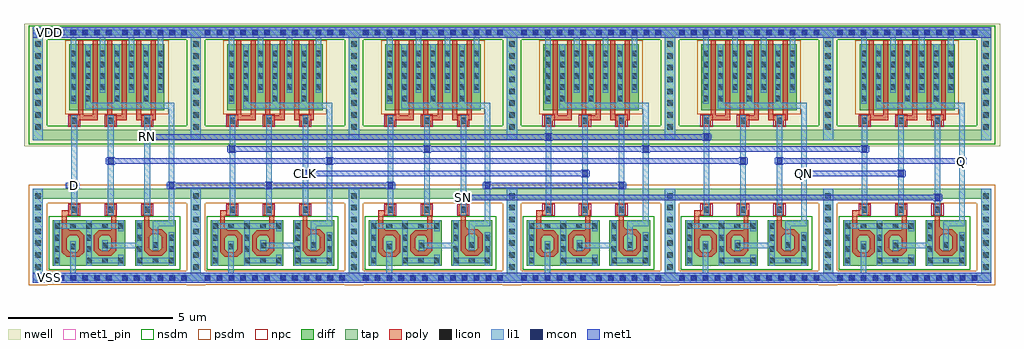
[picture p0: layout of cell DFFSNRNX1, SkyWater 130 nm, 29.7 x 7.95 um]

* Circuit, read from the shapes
.subckt DFFSNRNX1 CLK D Q QN RN SN VDD VSS
XM1 n1 D VSS VSS sky130_fd_pr__nfet_01v8 w=2.6 l=0.1457
XM2 n1 n2 n3 VSS sky130_fd_pr__nfet_01v8 w=2.52 l=0.1448
XM3 n3 RN n4 VSS sky130_fd_pr__nfet_01v8 w=2.56 l=0.1469
XM4 n5 n6 VSS VSS sky130_fd_pr__nfet_01v8 w=2.6 l=0.1461
XM5 n5 n4 n7 VSS sky130_fd_pr__nfet_01v8 w=2.52 l=0.1448
XM6 n7 CLK n2 VSS sky130_fd_pr__nfet_01v8 w=2.56 l=0.1469
XM7 n8 n4 VSS VSS sky130_fd_pr__nfet_01v8 w=2.6 l=0.1461
XM8 n8 n6 n9 VSS sky130_fd_pr__nfet_01v8 w=2.52 l=0.1448
XM9 n9 SN n10 VSS sky130_fd_pr__nfet_01v8 w=2.56 l=0.1469
XM10 n11 RN VSS VSS sky130_fd_pr__nfet_01v8 w=2.6 l=0.1461
XM11 n11 CLK n12 VSS sky130_fd_pr__nfet_01v8 w=2.52 l=0.1446
XM12 n12 n10 n6 VSS sky130_fd_pr__nfet_01v8 w=2.56 l=0.1469
XM13 n13 RN VSS VSS sky130_fd_pr__nfet_01v8 w=2.6 l=0.1461
XM14 n13 n2 n14 VSS sky130_fd_pr__nfet_01v8 w=2.52 l=0.1446
XM15 n14 Q QN VSS sky130_fd_pr__nfet_01v8 w=2.56 l=0.1469
XM16 n15 n6 VSS VSS sky130_fd_pr__nfet_01v8 w=2.6 l=0.1461
XM17 n15 QN n16 VSS sky130_fd_pr__nfet_01v8 w=2.52 l=0.1446
XM18 n16 SN Q VSS sky130_fd_pr__nfet_01v8 w=2.56 l=0.1469
XM19 n4 D VDD VDD sky130_fd_pr__pfet_01v8 w=2 l=0.15 m=2
XM20 n4 n2 VDD VDD sky130_fd_pr__pfet_01v8 w=2 l=0.15 m=2
XM21 n4 RN VDD VDD sky130_fd_pr__pfet_01v8 w=2 l=0.15 m=2
XM22 n2 n6 VDD VDD sky130_fd_pr__pfet_01v8 w=2 l=0.15 m=2
XM23 n2 n4 VDD VDD sky130_fd_pr__pfet_01v8 w=2 l=0.15 m=2
XM24 n2 CLK VDD VDD sky130_fd_pr__pfet_01v8 w=2 l=0.15 m=2
XM25 n10 n4 VDD VDD sky130_fd_pr__pfet_01v8 w=2 l=0.15 m=2
XM26 n10 n6 VDD VDD sky130_fd_pr__pfet_01v8 w=2 l=0.15 m=2
XM27 n10 SN VDD VDD sky130_fd_pr__pfet_01v8 w=2 l=0.15 m=2
XM28 n6 RN VDD VDD sky130_fd_pr__pfet_01v8 w=2 l=0.15 m=2
XM29 n6 CLK VDD VDD sky130_fd_pr__pfet_01v8 w=2 l=0.15 m=2
XM30 n6 n10 VDD VDD sky130_fd_pr__pfet_01v8 w=2 l=0.15 m=2
XM31 QN RN VDD VDD sky130_fd_pr__pfet_01v8 w=2 l=0.15 m=2
XM32 QN n2 VDD VDD sky130_fd_pr__pfet_01v8 w=2 l=0.15 m=2
XM33 QN Q VDD VDD sky130_fd_pr__pfet_01v8 w=2 l=0.15 m=2
XM34 Q n6 VDD VDD sky130_fd_pr__pfet_01v8 w=2 l=0.15 m=2
XM35 Q QN VDD VDD sky130_fd_pr__pfet_01v8 w=2 l=0.15 m=2
XM36 Q SN VDD VDD sky130_fd_pr__pfet_01v8 w=2 l=0.15 m=2
.ends

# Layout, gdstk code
import gdstk
lib = gdstk.Library(unit=1e-6, precision=1e-09)
def R(c, l, rs):  # rectangles x0, y0, x1, y1
    for r in rs: c.add(gdstk.rectangle(r[:2], r[2:], *l))
def A(c, l, x, y, w, h, nx, ny, dx, dy):  # array of equal rectangles
    R(c, l, [(x+i*dx, y+j*dy, x+i*dx+w, y+j*dy+h) for i in range(nx) for j in range(ny)])
def P(c, l, *ps):  # polygons
    for p in ps: c.add(gdstk.Polygon(p, *l))
nwell = (64, 20)
diff = (65, 20)
tap = (65, 44)
poly = (66, 20)
licon = (66, 44)
li1 = (67, 20)
mcon = (67, 44)
met1_pin = (68, 16)
met1 = (68, 20)
nsdm = (93, 44)
psdm = (94, 20)
npc = (95, 20)

dffsnrnx1 = lib.new_cell('DFFSNRNX1')
R(dffsnrnx1, nwell, [(-0.42,4.16,29.28,7.875)])
A(dffsnrnx1, diff, 0.455, 0.515, 2.21, 1.38, 6, 1, 4.81, 0)
A(dffsnrnx1, diff, 2.965, 0.515, 1.24, 1.38, 6, 1, 4.81, 0)
A(dffsnrnx1, diff, 0.955, 5.25, 2.9, 2, 6, 1, 4.81, 0)
A(dffsnrnx1, tap, -0.155, 0.055, 0.31, 0.01, 7, 1, 4.81, 0)
A(dffsnrnx1, tap, -0.155, 0.235, 0.31, 2.315, 7, 1, 4.81, 0)
A(dffsnrnx1, tap, -0.155, 4.65, 0.31, 2.875, 7, 1, 4.81, 0)
R(dffsnrnx1, tap, [(-0.155,0.065,29.015,0.235), (-0.155,2.55,29.015,2.86), (-0.155,4.34,29.015,4.65), (-0.155,7.525,29.015,7.695)])
A(dffsnrnx1, poly, 5.695, 0.785, 0.38, 0.035, 5, 1, 4.81, 0)
A(dffsnrnx1, poly, 1.86, 0.82, 0.375, 0.15, 6, 1, 4.81, 0)
A(dffsnrnx1, poly, 5.66, 0.82, 0.415, 0.005, 5, 1, 4.81, 0)
A(dffsnrnx1, poly, 3.395, 0.825, 0.38, 0.15, 6, 1, 4.81, 0)
A(dffsnrnx1, poly, 5.655, 0.825, 0.42, 0.11, 5, 1, 4.81, 0)
A(dffsnrnx1, poly, 0.735, 1.44, 0.53, 0.15, 6, 1, 4.81, 0)
A(dffsnrnx1, poly, 1.86, 1.44, 0.525, 0.15, 6, 1, 4.81, 0)
A(dffsnrnx1, poly, 3.245, 1.48, 0.53, 0.15, 6, 1, 4.81, 0)
A(dffsnrnx1, poly, 3.245, 1.63, 0.15, 0.425, 6, 1, 4.81, 0)
A(dffsnrnx1, poly, 0.735, 2.055, 0.51, 0.15, 6, 1, 4.81, 0)
A(dffsnrnx1, poly, 2.085, 2.055, 0.3, 0.15, 6, 1, 4.81, 0)
A(dffsnrnx1, poly, 3.195, 2.055, 0.27, 0.33, 6, 1, 4.81, 0)
A(dffsnrnx1, poly, 0.975, 4.765, 0.27, 0.18, 3, 1, 1.11, 0)
A(dffsnrnx1, poly, 5.785, 4.765, 0.27, 0.18, 3, 1, 1.11, 0)
A(dffsnrnx1, poly, 10.595, 4.765, 0.27, 0.18, 3, 1, 1.11, 0)
A(dffsnrnx1, poly, 15.405, 4.765, 0.27, 0.18, 3, 1, 1.11, 0)
A(dffsnrnx1, poly, 20.215, 4.765, 0.27, 0.18, 3, 1, 1.11, 0)
A(dffsnrnx1, poly, 25.025, 4.765, 0.27, 0.18, 3, 1, 1.11, 0)
A(dffsnrnx1, poly, 0.975, 4.945, 0.85, 0.15, 6, 1, 4.81, 0)
A(dffsnrnx1, poly, 2.085, 4.945, 0.62, 0.15, 6, 1, 4.81, 0)
A(dffsnrnx1, poly, 2.995, 4.945, 0.59, 0.15, 6, 1, 4.81, 0)
A(dffsnrnx1, poly, 1.235, 5.095, 0.15, 2.285, 6, 1, 0.44, 0)
A(dffsnrnx1, poly, 6.045, 5.095, 0.15, 2.285, 6, 1, 0.44, 0)
A(dffsnrnx1, poly, 10.855, 5.095, 0.15, 2.285, 6, 1, 0.44, 0)
A(dffsnrnx1, poly, 15.665, 5.095, 0.15, 2.285, 6, 1, 0.44, 0)
A(dffsnrnx1, poly, 20.475, 5.095, 0.15, 2.285, 6, 1, 0.44, 0)
A(dffsnrnx1, poly, 25.285, 5.095, 0.15, 2.285, 6, 1, 0.44, 0)
R(dffsnrnx1, poly, [(0.885,0.785,1.265,0.935), (0.735,0.935,0.885,1.44), (1.265,0.935,1.415,1.44), (5.545,0.935,5.695,1.44), (6.075,0.935,6.225,1.44), (10.355,0.935,10.505,1.44), (10.885,0.935,11.035,1.44), (15.165,0.935,15.315,1.44), (15.695,0.935,15.845,1.44), (19.975,0.935,20.125,1.44), (20.505,0.935,20.655,1.44), (24.785,0.935,24.935,1.44), (25.315,0.935,25.465,1.44), (1.71,0.97,1.86,1.44), (2.235,0.97,2.385,1.44), (6.52,0.97,6.67,1.44), (7.045,0.97,7.195,1.44), (11.33,0.97,11.48,1.44), (11.855,0.97,12.005,1.44), (16.14,0.97,16.29,1.44), (16.665,0.97,16.815,1.44), (20.95,0.97,21.1,1.44), (21.475,0.97,21.625,1.44), (25.76,0.97,25.91,1.44), (26.285,0.97,26.435,1.44), (3.245,0.975,3.395,1.48), (3.775,0.975,3.925,1.48), (8.055,0.975,8.205,1.48), (8.585,0.975,8.735,1.48), (12.865,0.975,13.015,1.48), (13.395,0.975,13.545,1.48), (17.675,0.975,17.825,1.48), (18.205,0.975,18.355,1.48), (22.485,0.975,22.635,1.48), (23.015,0.975,23.165,1.48), (27.295,0.975,27.445,1.48), (27.825,0.975,27.975,1.48), (0.735,1.59,0.885,2.055), (2.235,1.59,2.385,2.055), (5.545,1.59,5.695,2.055), (7.045,1.59,7.195,2.055), (10.355,1.59,10.505,2.055), (11.855,1.59,12.005,2.055), (15.165,1.59,15.315,2.055), (16.665,1.59,16.815,2.055), (19.975,1.59,20.125,2.055), (21.475,1.59,21.625,2.055), (24.785,1.59,24.935,2.055), (26.285,1.59,26.435,2.055), (0.975,2.205,1.245,2.385), (2.085,2.205,2.355,2.385), (5.785,2.205,6.055,2.385), (6.895,2.205,7.165,2.385), (10.595,2.205,10.865,2.385), (11.705,2.205,11.975,2.385), (15.405,2.205,15.675,2.385), (16.515,2.205,16.785,2.385), (20.215,2.205,20.485,2.385), (21.325,2.205,21.595,2.385), (25.025,2.205,25.295,2.385), (26.135,2.205,26.405,2.385)])
P(dffsnrnx1, poly, [(0.885,1.67),(0.885,1.59),(0.965,1.59)],
  [(1.265,1.59),(1.265,1.44),(1.415,1.44)],
  [(0.885,1.36),(0.885,1.44),(0.965,1.44)],
  [(1.185,1.44),(1.265,1.44),(1.265,1.36)],
  [(0.885,1.015),(0.885,0.935),(0.965,0.935)],
  [(1.185,0.935),(1.265,0.935),(1.265,1.015)],
  [(0.735,0.935),(0.885,0.935),(0.885,0.785)],
  [(1.265,0.785),(1.265,0.935),(1.415,0.935)],
  [(1.71,1.44),(1.86,1.44),(1.86,1.59)],
  [(1.86,1.36),(1.86,1.44),(1.94,1.44)],
  [(2.155,1.44),(2.235,1.44),(2.235,1.36)],
  [(1.86,1.05),(1.86,0.97),(1.94,0.97)],
  [(2.155,0.97),(2.235,0.97),(2.235,1.05)],
  [(1.71,0.97),(1.86,0.97),(1.86,0.82)],
  [(2.235,0.82),(2.235,0.97),(2.385,0.97)],
  [(3.395,1.71),(3.395,1.63),(3.475,1.63)],
  [(3.775,1.63),(3.775,1.48),(3.925,1.48)],
  [(3.395,1.4),(3.395,1.48),(3.475,1.48)],
  [(3.695,1.48),(3.775,1.48),(3.775,1.4)],
  [(3.395,1.055),(3.395,0.975),(3.475,0.975)],
  [(3.695,0.975),(3.775,0.975),(3.775,1.055)],
  [(3.245,0.975),(3.395,0.975),(3.395,0.825)],
  [(3.775,0.825),(3.775,0.975),(3.925,0.975)],
  [(5.695,1.67),(5.695,1.59),(5.775,1.59)],
  [(6.075,1.59),(6.075,1.44),(6.225,1.44)],
  [(5.695,1.36),(5.695,1.44),(5.775,1.44)],
  [(5.995,1.44),(6.075,1.44),(6.075,1.36)],
  [(5.695,1.015),(5.695,0.935),(5.775,0.935)],
  [(5.995,0.935),(6.075,0.935),(6.075,1.015)],
  [(5.545,0.935),(5.655,0.935),(5.655,0.825)],
  [(5.655,0.825),(5.66,0.825),(5.66,0.82)],
  [(5.66,0.82),(5.695,0.82),(5.695,0.785)],
  [(6.075,0.785),(6.075,0.935),(6.225,0.935)],
  [(6.52,1.44),(6.67,1.44),(6.67,1.59)],
  [(6.67,1.36),(6.67,1.44),(6.75,1.44)],
  [(6.965,1.44),(7.045,1.44),(7.045,1.36)],
  [(6.67,1.05),(6.67,0.97),(6.75,0.97)],
  [(6.965,0.97),(7.045,0.97),(7.045,1.05)],
  [(6.52,0.97),(6.67,0.97),(6.67,0.82)],
  [(7.045,0.82),(7.045,0.97),(7.195,0.97)],
  [(8.205,1.71),(8.205,1.63),(8.285,1.63)],
  [(8.585,1.63),(8.585,1.48),(8.735,1.48)],
  [(8.205,1.4),(8.205,1.48),(8.285,1.48)],
  [(8.505,1.48),(8.585,1.48),(8.585,1.4)],
  [(8.205,1.055),(8.205,0.975),(8.285,0.975)],
  [(8.505,0.975),(8.585,0.975),(8.585,1.055)],
  [(8.055,0.975),(8.205,0.975),(8.205,0.825)],
  [(8.585,0.825),(8.585,0.975),(8.735,0.975)],
  [(10.505,1.67),(10.505,1.59),(10.585,1.59)],
  [(10.885,1.59),(10.885,1.44),(11.035,1.44)],
  [(10.505,1.36),(10.505,1.44),(10.585,1.44)],
  [(10.805,1.44),(10.885,1.44),(10.885,1.36)],
  [(10.505,1.015),(10.505,0.935),(10.585,0.935)],
  [(10.805,0.935),(10.885,0.935),(10.885,1.015)],
  [(10.355,0.935),(10.465,0.935),(10.465,0.825)],
  [(10.465,0.825),(10.47,0.825),(10.47,0.82)],
  [(10.47,0.82),(10.505,0.82),(10.505,0.785)],
  [(10.885,0.785),(10.885,0.935),(11.035,0.935)],
  [(11.33,1.44),(11.48,1.44),(11.48,1.59)],
  [(11.48,1.36),(11.48,1.44),(11.56,1.44)],
  [(11.775,1.44),(11.855,1.44),(11.855,1.36)],
  [(11.48,1.05),(11.48,0.97),(11.56,0.97)],
  [(11.775,0.97),(11.855,0.97),(11.855,1.05)],
  [(11.33,0.97),(11.48,0.97),(11.48,0.82)],
  [(11.855,0.82),(11.855,0.97),(12.005,0.97)],
  [(13.015,1.71),(13.015,1.63),(13.095,1.63)],
  [(13.395,1.63),(13.395,1.48),(13.545,1.48)],
  [(13.015,1.4),(13.015,1.48),(13.095,1.48)],
  [(13.315,1.48),(13.395,1.48),(13.395,1.4)],
  [(13.015,1.055),(13.015,0.975),(13.095,0.975)],
  [(13.315,0.975),(13.395,0.975),(13.395,1.055)],
  [(12.865,0.975),(13.015,0.975),(13.015,0.825)],
  [(13.395,0.825),(13.395,0.975),(13.545,0.975)],
  [(15.315,1.67),(15.315,1.59),(15.395,1.59)],
  [(15.695,1.59),(15.695,1.44),(15.845,1.44)],
  [(15.315,1.36),(15.315,1.44),(15.395,1.44)],
  [(15.615,1.44),(15.695,1.44),(15.695,1.36)],
  [(15.315,1.015),(15.315,0.935),(15.395,0.935)],
  [(15.615,0.935),(15.695,0.935),(15.695,1.015)],
  [(15.165,0.935),(15.275,0.935),(15.275,0.825)],
  [(15.275,0.825),(15.28,0.825),(15.28,0.82)],
  [(15.28,0.82),(15.315,0.82),(15.315,0.785)],
  [(15.695,0.785),(15.695,0.935),(15.845,0.935)],
  [(16.14,1.44),(16.29,1.44),(16.29,1.59)],
  [(16.29,1.36),(16.29,1.44),(16.37,1.44)],
  [(16.585,1.44),(16.665,1.44),(16.665,1.36)],
  [(16.29,1.05),(16.29,0.97),(16.37,0.97)],
  [(16.585,0.97),(16.665,0.97),(16.665,1.05)],
  [(16.14,0.97),(16.29,0.97),(16.29,0.82)],
  [(16.665,0.82),(16.665,0.97),(16.815,0.97)],
  [(17.825,1.71),(17.825,1.63),(17.905,1.63)],
  [(18.205,1.63),(18.205,1.48),(18.355,1.48)],
  [(17.825,1.4),(17.825,1.48),(17.905,1.48)],
  [(18.125,1.48),(18.205,1.48),(18.205,1.4)],
  [(17.825,1.055),(17.825,0.975),(17.905,0.975)],
  [(18.125,0.975),(18.205,0.975),(18.205,1.055)],
  [(17.675,0.975),(17.825,0.975),(17.825,0.825)],
  [(18.205,0.825),(18.205,0.975),(18.355,0.975)],
  [(20.125,1.67),(20.125,1.59),(20.205,1.59)],
  [(20.505,1.59),(20.505,1.44),(20.655,1.44)],
  [(20.125,1.36),(20.125,1.44),(20.205,1.44)],
  [(20.425,1.44),(20.505,1.44),(20.505,1.36)],
  [(20.125,1.015),(20.125,0.935),(20.205,0.935)],
  [(20.425,0.935),(20.505,0.935),(20.505,1.015)],
  [(19.975,0.935),(20.085,0.935),(20.085,0.825)],
  [(20.085,0.825),(20.09,0.825),(20.09,0.82)],
  [(20.09,0.82),(20.125,0.82),(20.125,0.785)],
  [(20.505,0.785),(20.505,0.935),(20.655,0.935)],
  [(20.95,1.44),(21.1,1.44),(21.1,1.59)],
  [(21.1,1.36),(21.1,1.44),(21.18,1.44)],
  [(21.395,1.44),(21.475,1.44),(21.475,1.36)],
  [(21.1,1.05),(21.1,0.97),(21.18,0.97)],
  [(21.395,0.97),(21.475,0.97),(21.475,1.05)],
  [(20.95,0.97),(21.1,0.97),(21.1,0.82)],
  [(21.475,0.82),(21.475,0.97),(21.625,0.97)],
  [(22.635,1.71),(22.635,1.63),(22.715,1.63)],
  [(23.015,1.63),(23.015,1.48),(23.165,1.48)],
  [(22.635,1.4),(22.635,1.48),(22.715,1.48)],
  [(22.935,1.48),(23.015,1.48),(23.015,1.4)],
  [(22.635,1.055),(22.635,0.975),(22.715,0.975)],
  [(22.935,0.975),(23.015,0.975),(23.015,1.055)],
  [(22.485,0.975),(22.635,0.975),(22.635,0.825)],
  [(23.015,0.825),(23.015,0.975),(23.165,0.975)],
  [(24.935,1.67),(24.935,1.59),(25.015,1.59)],
  [(25.315,1.59),(25.315,1.44),(25.465,1.44)],
  [(24.935,1.36),(24.935,1.44),(25.015,1.44)],
  [(25.235,1.44),(25.315,1.44),(25.315,1.36)],
  [(24.935,1.015),(24.935,0.935),(25.015,0.935)],
  [(25.235,0.935),(25.315,0.935),(25.315,1.015)],
  [(24.785,0.935),(24.895,0.935),(24.895,0.825)],
  [(24.895,0.825),(24.9,0.825),(24.9,0.82)],
  [(24.9,0.82),(24.935,0.82),(24.935,0.785)],
  [(25.315,0.785),(25.315,0.935),(25.465,0.935)],
  [(25.76,1.44),(25.91,1.44),(25.91,1.59)],
  [(25.91,1.36),(25.91,1.44),(25.99,1.44)],
  [(26.205,1.44),(26.285,1.44),(26.285,1.36)],
  [(25.91,1.05),(25.91,0.97),(25.99,0.97)],
  [(26.205,0.97),(26.285,0.97),(26.285,1.05)],
  [(25.76,0.97),(25.91,0.97),(25.91,0.82)],
  [(26.285,0.82),(26.285,0.97),(26.435,0.97)],
  [(27.445,1.71),(27.445,1.63),(27.525,1.63)],
  [(27.825,1.63),(27.825,1.48),(27.975,1.48)],
  [(27.445,1.4),(27.445,1.48),(27.525,1.48)],
  [(27.745,1.48),(27.825,1.48),(27.825,1.4)],
  [(27.445,1.055),(27.445,0.975),(27.525,0.975)],
  [(27.745,0.975),(27.825,0.975),(27.825,1.055)],
  [(27.295,0.975),(27.445,0.975),(27.445,0.825)],
  [(27.825,0.825),(27.825,0.975),(27.975,0.975)])
A(dffsnrnx1, licon, 0.275, 0.065, 0.17, 0.17, 6, 2, 0.36, 7.46)
A(dffsnrnx1, licon, 2.565, 0.065, 0.17, 0.17, 6, 2, 0.36, 7.46)
A(dffsnrnx1, licon, 5.085, 0.065, 0.17, 0.17, 6, 2, 0.36, 7.46)
A(dffsnrnx1, licon, 7.375, 0.065, 0.17, 0.17, 6, 2, 0.36, 7.46)
A(dffsnrnx1, licon, 9.895, 0.065, 0.17, 0.17, 6, 2, 0.36, 7.46)
A(dffsnrnx1, licon, 12.185, 0.065, 0.17, 0.17, 6, 2, 0.36, 7.46)
A(dffsnrnx1, licon, 14.705, 0.065, 0.17, 0.17, 6, 2, 0.36, 7.46)
A(dffsnrnx1, licon, 16.995, 0.065, 0.17, 0.17, 6, 2, 0.36, 7.46)
A(dffsnrnx1, licon, 19.515, 0.065, 0.17, 0.17, 6, 2, 0.36, 7.46)
A(dffsnrnx1, licon, 21.805, 0.065, 0.17, 0.17, 6, 2, 0.36, 7.46)
A(dffsnrnx1, licon, 24.325, 0.065, 0.17, 0.17, 6, 2, 0.36, 7.46)
A(dffsnrnx1, licon, 26.615, 0.065, 0.17, 0.17, 6, 2, 0.36, 7.46)
A(dffsnrnx1, licon, -0.085, 0.4, 0.17, 0.17, 7, 7, 4.81, 0.36)
A(dffsnrnx1, licon, 1.475, 0.595, 0.17, 0.17, 3, 1, 0.485, 0)
A(dffsnrnx1, licon, 3.015, 0.595, 0.17, 0.17, 3, 1, 0.485, 0)
A(dffsnrnx1, licon, 6.285, 0.595, 0.17, 0.17, 3, 1, 0.485, 0)
A(dffsnrnx1, licon, 7.825, 0.595, 0.17, 0.17, 3, 1, 0.485, 0)
A(dffsnrnx1, licon, 11.095, 0.595, 0.17, 0.17, 3, 1, 0.485, 0)
A(dffsnrnx1, licon, 12.635, 0.595, 0.17, 0.17, 3, 1, 0.485, 0)
A(dffsnrnx1, licon, 15.905, 0.595, 0.17, 0.17, 3, 1, 0.485, 0)
A(dffsnrnx1, licon, 17.445, 0.595, 0.17, 0.17, 3, 1, 0.485, 0)
A(dffsnrnx1, licon, 20.715, 0.595, 0.17, 0.17, 3, 1, 0.485, 0)
A(dffsnrnx1, licon, 22.255, 0.595, 0.17, 0.17, 3, 1, 0.485, 0)
A(dffsnrnx1, licon, 25.525, 0.595, 0.17, 0.17, 3, 1, 0.485, 0)
A(dffsnrnx1, licon, 27.065, 0.595, 0.17, 0.17, 3, 1, 0.485, 0)
A(dffsnrnx1, licon, 0.99, 1.02, 0.17, 0.17, 6, 1, 4.81, 0)
A(dffsnrnx1, licon, 1.965, 1.05, 0.17, 0.17, 6, 1, 4.81, 0)
A(dffsnrnx1, licon, 3.5, 1.065, 0.17, 0.17, 6, 1, 4.81, 0)
A(dffsnrnx1, licon, 0.505, 1.645, 0.17, 0.17, 5, 1, 0.485, 0)
A(dffsnrnx1, licon, 5.315, 1.645, 0.17, 0.17, 5, 1, 0.485, 0)
A(dffsnrnx1, licon, 10.125, 1.645, 0.17, 0.17, 5, 1, 0.485, 0)
A(dffsnrnx1, licon, 14.935, 1.645, 0.17, 0.17, 5, 1, 0.485, 0)
A(dffsnrnx1, licon, 19.745, 1.645, 0.17, 0.17, 5, 1, 0.485, 0)
A(dffsnrnx1, licon, 24.555, 1.645, 0.17, 0.17, 5, 1, 0.485, 0)
A(dffsnrnx1, licon, 1.025, 2.135, 0.17, 0.17, 3, 2, 1.11, 2.71)
A(dffsnrnx1, licon, 5.835, 2.135, 0.17, 0.17, 3, 2, 1.11, 2.71)
A(dffsnrnx1, licon, 10.645, 2.135, 0.17, 0.17, 3, 2, 1.11, 2.71)
A(dffsnrnx1, licon, 15.455, 2.135, 0.17, 0.17, 3, 2, 1.11, 2.71)
A(dffsnrnx1, licon, 20.265, 2.135, 0.17, 0.17, 3, 2, 1.11, 2.71)
A(dffsnrnx1, licon, 25.075, 2.135, 0.17, 0.17, 3, 2, 1.11, 2.71)
A(dffsnrnx1, licon, -0.085, 4.66, 0.17, 0.17, 7, 8, 4.81, 0.36)
A(dffsnrnx1, licon, 1.445, 5.525, 0.17, 0.17, 3, 1, 0.88, 0)
A(dffsnrnx1, licon, 6.255, 5.525, 0.17, 0.17, 3, 1, 0.88, 0)
A(dffsnrnx1, licon, 11.065, 5.525, 0.17, 0.17, 3, 1, 0.88, 0)
A(dffsnrnx1, licon, 15.875, 5.525, 0.17, 0.17, 3, 1, 0.88, 0)
A(dffsnrnx1, licon, 20.685, 5.525, 0.17, 0.17, 3, 1, 0.88, 0)
A(dffsnrnx1, licon, 25.495, 5.525, 0.17, 0.17, 3, 1, 0.88, 0)
A(dffsnrnx1, licon, 1.005, 5.87, 0.17, 0.17, 7, 4, 0.44, 0.34)
A(dffsnrnx1, licon, 5.815, 5.87, 0.17, 0.17, 7, 4, 0.44, 0.34)
A(dffsnrnx1, licon, 10.625, 5.87, 0.17, 0.17, 7, 4, 0.44, 0.34)
A(dffsnrnx1, licon, 15.435, 5.87, 0.17, 0.17, 7, 4, 0.44, 0.34)
A(dffsnrnx1, licon, 20.245, 5.87, 0.17, 0.17, 7, 4, 0.44, 0.34)
A(dffsnrnx1, licon, 25.055, 5.87, 0.17, 0.17, 7, 4, 0.44, 0.34)
R(dffsnrnx1, licon, [(0.505,0.595,0.675,0.765), (5.315,0.595,5.485,0.765), (10.125,0.595,10.295,0.765), (14.935,0.595,15.105,0.765), (19.745,0.595,19.915,0.765), (24.555,0.595,24.725,0.765), (0.505,0.945,0.675,1.115), (1.475,0.945,1.645,1.115), (3.015,0.945,3.185,1.115), (3.985,0.945,4.155,1.115), (5.315,0.945,5.485,1.115), (6.285,0.945,6.455,1.115), (7.825,0.945,7.995,1.115), (8.795,0.945,8.965,1.115), (10.125,0.945,10.295,1.115), (11.095,0.945,11.265,1.115), (12.635,0.945,12.805,1.115), (13.605,0.945,13.775,1.115), (14.935,0.945,15.105,1.115), (15.905,0.945,16.075,1.115), (17.445,0.945,17.615,1.115), (18.415,0.945,18.585,1.115), (19.745,0.945,19.915,1.115), (20.715,0.945,20.885,1.115), (22.255,0.945,22.425,1.115), (23.225,0.945,23.395,1.115), (24.555,0.945,24.725,1.115), (25.525,0.945,25.695,1.115), (27.065,0.945,27.235,1.115), (28.035,0.945,28.205,1.115), (0.505,1.285,0.675,1.455), (1.475,1.285,1.645,1.455), (3.015,1.285,3.185,1.455), (3.985,1.285,4.155,1.455), (5.315,1.285,5.485,1.455), (6.285,1.285,6.455,1.455), (7.825,1.285,7.995,1.455), (8.795,1.285,8.965,1.455), (10.125,1.285,10.295,1.455), (11.095,1.285,11.265,1.455), (12.635,1.285,12.805,1.455), (13.605,1.285,13.775,1.455), (14.935,1.285,15.105,1.455), (15.905,1.285,16.075,1.455), (17.445,1.285,17.615,1.455), (18.415,1.285,18.585,1.455), (19.745,1.285,19.915,1.455), (20.715,1.285,20.885,1.455), (22.255,1.285,22.425,1.455), (23.225,1.285,23.395,1.455), (24.555,1.285,24.725,1.455), (25.525,1.285,25.695,1.455), (27.065,1.285,27.235,1.455), (28.035,1.285,28.205,1.455), (3.015,1.645,3.185,1.815), (7.825,1.645,7.995,1.815), (12.635,1.645,12.805,1.815), (17.445,1.645,17.615,1.815), (22.255,1.645,22.425,1.815), (27.065,1.645,27.235,1.815), (1.005,5.525,1.175,5.695), (5.815,5.525,5.985,5.695), (10.625,5.525,10.795,5.695), (15.435,5.525,15.605,5.695), (20.245,5.525,20.415,5.695), (25.055,5.525,25.225,5.695)])
A(dffsnrnx1, li1, -0.155, 0.31, 0.31, 2.55, 7, 1, 4.81, 0)
A(dffsnrnx1, li1, 0.99, 0.31, 0.17, 0.96, 6, 1, 4.81, 0)
A(dffsnrnx1, li1, 0.505, 0.515, 0.17, 1.13, 6, 1, 4.81, 0)
A(dffsnrnx1, li1, 1.475, 0.765, 0.17, 0.88, 6, 1, 4.81, 0)
A(dffsnrnx1, li1, 2.445, 0.765, 0.17, 0.08, 6, 2, 4.81, 0.8)
A(dffsnrnx1, li1, 3.015, 0.765, 0.17, 0.285, 6, 1, 4.81, 0)
A(dffsnrnx1, li1, 3.985, 0.765, 0.17, 0.77, 6, 1, 4.81, 0)
A(dffsnrnx1, li1, 1.965, 0.97, 0.17, 0.08, 6, 2, 4.81, 0.25)
A(dffsnrnx1, li1, 3.5, 0.985, 0.17, 0.735, 6, 1, 4.81, 0)
A(dffsnrnx1, li1, 1.965, 1.05, 1.22, 0.17, 6, 1, 4.81, 0)
A(dffsnrnx1, li1, 3.015, 1.22, 0.17, 0.675, 6, 1, 4.81, 0)
A(dffsnrnx1, li1, 0.505, 1.645, 2.11, 0.17, 6, 1, 4.81, 0)
A(dffsnrnx1, li1, 3.5, 1.72, 0.655, 0.17, 6, 1, 4.81, 0)
A(dffsnrnx1, li1, 0.505, 1.815, 0.17, 0.08, 3, 1, 0.97, 0)
A(dffsnrnx1, li1, 5.315, 1.815, 0.17, 0.08, 3, 1, 0.97, 0)
A(dffsnrnx1, li1, 10.125, 1.815, 0.17, 0.08, 3, 1, 0.97, 0)
A(dffsnrnx1, li1, 14.935, 1.815, 0.17, 0.08, 3, 1, 0.97, 0)
A(dffsnrnx1, li1, 19.745, 1.815, 0.17, 0.08, 3, 1, 0.97, 0)
A(dffsnrnx1, li1, 24.555, 1.815, 0.17, 0.08, 3, 1, 0.97, 0)
A(dffsnrnx1, li1, 3.985, 1.89, 0.17, 3.41, 6, 1, 4.81, 0)
A(dffsnrnx1, li1, 1.025, 2.055, 0.17, 3.04, 3, 1, 1.11, 0)
A(dffsnrnx1, li1, 10.645, 2.055, 0.17, 3.04, 3, 1, 1.11, 0)
A(dffsnrnx1, li1, 15.455, 2.055, 0.17, 3.04, 3, 1, 1.11, 0)
A(dffsnrnx1, li1, 20.265, 2.055, 0.17, 3.04, 3, 1, 1.11, 0)
A(dffsnrnx1, li1, 25.075, 2.055, 0.17, 3.04, 3, 1, 1.11, 0)
A(dffsnrnx1, li1, -0.155, 4.34, 0.31, 3.12, 7, 1, 4.81, 0)
A(dffsnrnx1, li1, 1.445, 5.3, 2.71, 0.17, 6, 1, 4.81, 0)
A(dffsnrnx1, li1, 1.005, 5.445, 0.17, 2.015, 6, 1, 4.81, 0)
A(dffsnrnx1, li1, 1.445, 5.47, 0.17, 1.78, 3, 1, 0.88, 0)
A(dffsnrnx1, li1, 6.255, 5.47, 0.17, 1.78, 3, 1, 0.88, 0)
A(dffsnrnx1, li1, 11.065, 5.47, 0.17, 1.78, 3, 1, 0.88, 0)
A(dffsnrnx1, li1, 15.875, 5.47, 0.17, 1.78, 3, 1, 0.88, 0)
A(dffsnrnx1, li1, 20.685, 5.47, 0.17, 1.78, 3, 1, 0.88, 0)
A(dffsnrnx1, li1, 25.495, 5.47, 0.17, 1.78, 3, 1, 0.88, 0)
A(dffsnrnx1, li1, 1.885, 5.785, 0.17, 1.675, 3, 1, 0.88, 0)
A(dffsnrnx1, li1, 6.695, 5.785, 0.17, 1.675, 3, 1, 0.88, 0)
A(dffsnrnx1, li1, 11.505, 5.785, 0.17, 1.675, 3, 1, 0.88, 0)
A(dffsnrnx1, li1, 16.315, 5.785, 0.17, 1.675, 3, 1, 0.88, 0)
A(dffsnrnx1, li1, 21.125, 5.785, 0.17, 1.675, 3, 1, 0.88, 0)
A(dffsnrnx1, li1, 25.935, 5.785, 0.17, 1.675, 3, 1, 0.88, 0)
R(dffsnrnx1, li1, [(-0.155,0,29.015,0.31), (1.475,0.515,1.645,0.595), (2.445,0.515,2.615,0.595), (3.015,0.515,3.185,0.595), (3.985,0.515,4.155,0.595), (6.285,0.515,6.455,0.595), (7.255,0.515,7.425,0.595), (7.825,0.515,7.995,0.595), (8.795,0.515,8.965,0.595), (11.095,0.515,11.265,0.595), (12.065,0.515,12.235,0.595), (12.635,0.515,12.805,0.595), (13.605,0.515,13.775,0.595), (15.905,0.515,16.075,0.595), (16.875,0.515,17.045,0.595), (17.445,0.515,17.615,0.595), (18.415,0.515,18.585,0.595), (20.715,0.515,20.885,0.595), (21.685,0.515,21.855,0.595), (22.255,0.515,22.425,0.595), (23.225,0.515,23.395,0.595), (25.525,0.515,25.695,0.595), (26.495,0.515,26.665,0.595), (27.065,0.515,27.235,0.595), (28.035,0.515,28.205,0.595), (1.475,0.595,2.615,0.765), (3.015,0.595,4.155,0.765), (6.285,0.595,7.425,0.765), (7.825,0.595,8.965,0.765), (11.095,0.595,12.235,0.765), (12.635,0.595,13.775,0.765), (15.905,0.595,17.045,0.765), (17.445,0.595,18.585,0.765), (20.715,0.595,21.855,0.765), (22.255,0.595,23.395,0.765), (25.525,0.595,26.665,0.765), (27.065,0.595,28.205,0.765), (5.835,2.055,6.005,3.905), (6.945,2.055,7.115,5.095), (8.055,2.055,8.225,5.095), (5.83,3.905,6.005,4.235), (5.835,4.235,6.005,5.095), (-0.155,7.46,29.015,7.77)])
A(dffsnrnx1, mcon, 0.275, 0.065, 0.17, 0.17, 6, 2, 0.36, 7.46)
A(dffsnrnx1, mcon, 2.565, 0.065, 0.17, 0.17, 6, 2, 0.36, 7.46)
A(dffsnrnx1, mcon, 5.085, 0.065, 0.17, 0.17, 6, 2, 0.36, 7.46)
A(dffsnrnx1, mcon, 7.375, 0.065, 0.17, 0.17, 6, 2, 0.36, 7.46)
A(dffsnrnx1, mcon, 9.895, 0.065, 0.17, 0.17, 6, 2, 0.36, 7.46)
A(dffsnrnx1, mcon, 12.185, 0.065, 0.17, 0.17, 6, 2, 0.36, 7.46)
A(dffsnrnx1, mcon, 14.705, 0.065, 0.17, 0.17, 6, 2, 0.36, 7.46)
A(dffsnrnx1, mcon, 16.995, 0.065, 0.17, 0.17, 6, 2, 0.36, 7.46)
A(dffsnrnx1, mcon, 19.515, 0.065, 0.17, 0.17, 6, 2, 0.36, 7.46)
A(dffsnrnx1, mcon, 21.805, 0.065, 0.17, 0.17, 6, 2, 0.36, 7.46)
A(dffsnrnx1, mcon, 24.325, 0.065, 0.17, 0.17, 6, 2, 0.36, 7.46)
A(dffsnrnx1, mcon, 26.615, 0.065, 0.17, 0.17, 6, 2, 0.36, 7.46)
A(dffsnrnx1, mcon, 11.755, 3.985, 0.17, 0.17, 3, 1, 6.66, 0)
R(dffsnrnx1, mcon, [(27.295,2.505,27.465,2.675), (12.865,2.51,13.035,2.68), (1.025,2.875,1.195,3.045), (13.605,2.875,13.775,3.045), (17.675,2.875,17.845,3.045), (3.985,2.88,4.155,3.05), (6.945,2.88,7.115,3.05), (10.645,2.88,10.815,3.05), (8.055,3.245,8.225,3.415), (16.565,3.245,16.735,3.415), (23.225,3.245,23.395,3.415), (26.185,3.245,26.355,3.415), (2.135,3.615,2.305,3.785), (8.795,3.615,8.965,3.785), (21.375,3.615,21.545,3.785), (22.485,3.615,22.655,3.785), (28.035,3.615,28.205,3.785), (5.83,3.985,6,4.155), (3.245,4.355,3.415,4.525), (15.455,4.355,15.625,4.525), (20.265,4.355,20.435,4.525)])
R(dffsnrnx1, met1_pin, [(0.275,0.065,0.445,0.235), (12.865,2.505,13.035,2.675), (1.025,2.875,1.195,3.045), (8.055,3.245,8.225,3.415), (23.225,3.245,23.395,3.415), (28.035,3.615,28.205,3.785), (3.245,4.355,3.415,4.525), (0.275,7.525,0.445,7.695)])
A(dffsnrnx1, met1, 11.725, 3.955, 0.23, 0.03, 3, 2, 6.66, 0.2)
R(dffsnrnx1, met1, [(-0.155,0,29.015,0.31), (27.265,2.475,27.495,2.505), (12.835,2.48,13.065,2.505), (12.835,2.505,27.525,2.51), (12.805,2.51,27.525,2.675), (12.805,2.675,13.215,2.68), (27.265,2.675,27.495,2.705), (12.835,2.68,13.065,2.71), (0.995,2.845,1.225,2.875), (13.575,2.845,13.805,2.875), (17.645,2.845,17.875,2.875), (3.955,2.85,4.185,2.88), (6.915,2.85,7.145,2.88), (10.615,2.85,10.845,2.88), (0.845,2.875,1.255,3.045), (13.545,2.875,17.905,3.045), (3.925,2.88,10.875,3.05), (0.995,3.045,1.225,3.075), (13.575,3.045,13.805,3.075), (17.645,3.045,17.875,3.075), (3.955,3.05,4.185,3.08), (6.915,3.05,7.145,3.08), (10.615,3.05,10.845,3.08), (8.025,3.215,8.255,3.245), (16.535,3.215,16.765,3.245), (23.195,3.215,23.425,3.245), (26.155,3.215,26.385,3.245), (7.995,3.245,16.795,3.415), (23.165,3.245,26.415,3.415), (8.025,3.415,8.255,3.445), (16.535,3.415,16.765,3.445), (23.195,3.415,23.425,3.445), (26.155,3.415,26.385,3.445), (2.105,3.585,2.335,3.615), (8.765,3.585,8.995,3.615), (21.345,3.585,21.575,3.615), (22.455,3.585,22.685,3.615), (28.005,3.585,28.235,3.615), (2.075,3.615,21.605,3.785), (22.425,3.615,28.265,3.785), (2.105,3.785,2.335,3.815), (8.765,3.785,8.995,3.815), (21.345,3.785,21.575,3.815), (22.455,3.785,22.685,3.815), (28.005,3.785,28.235,3.815), (5.8,3.955,6.03,3.985), (5.77,3.985,25.305,4.155), (5.8,4.155,6.03,4.185), (3.215,4.325,3.445,4.355), (15.425,4.325,15.655,4.355), (20.235,4.325,20.465,4.355), (3.185,4.355,20.495,4.525), (3.215,4.525,3.445,4.555), (15.425,4.525,15.655,4.555), (20.235,4.525,20.465,4.555), (-0.155,7.46,29.015,7.77)])
A(dffsnrnx1, nsdm, 0.33, 0.39, 4, 1.63, 6, 1, 4.81, 0)
A(dffsnrnx1, nsdm, -0.28, 4.775, 0.56, 2.625, 7, 1, 4.81, 0)
R(dffsnrnx1, nsdm, [(-0.28,4.215,29.14,4.775), (-0.28,7.4,29.14,7.82)])
A(dffsnrnx1, psdm, -0.28, -0.07, 0.56, 0.01, 7, 1, 4.81, 0)
A(dffsnrnx1, psdm, -0.28, 0.36, 0.56, 2.065, 7, 1, 4.81, 0)
A(dffsnrnx1, psdm, 0.83, 5.125, 3.15, 2.25, 6, 1, 4.81, 0)
R(dffsnrnx1, psdm, [(-0.28,-0.06,29.14,0.36), (-0.28,2.425,29.14,2.985)])
A(dffsnrnx1, npc, 0.925, 2.035, 0.37, 0.37, 3, 2, 1.11, 2.71)
A(dffsnrnx1, npc, 5.735, 2.035, 0.37, 0.37, 3, 2, 1.11, 2.71)
A(dffsnrnx1, npc, 10.545, 2.035, 0.37, 0.37, 3, 2, 1.11, 2.71)
A(dffsnrnx1, npc, 15.355, 2.035, 0.37, 0.37, 3, 2, 1.11, 2.71)
A(dffsnrnx1, npc, 20.165, 2.035, 0.37, 0.37, 3, 2, 1.11, 2.71)
A(dffsnrnx1, npc, 24.975, 2.035, 0.37, 0.37, 3, 2, 1.11, 2.71)
dffsnrnx1.add(gdstk.Label('Q', (28.12,3.7), layer=68, texttype=16))
dffsnrnx1.add(gdstk.Label('QN', (23.31,3.33), layer=68, texttype=16))
dffsnrnx1.add(gdstk.Label('D', (1.11,2.96), layer=68, texttype=16))
dffsnrnx1.add(gdstk.Label('CLK', (8.14,3.33), layer=68, texttype=16))
dffsnrnx1.add(gdstk.Label('SN', (12.95,2.59), layer=68, texttype=16))
dffsnrnx1.add(gdstk.Label('RN', (3.33,4.44), layer=68, texttype=16))
dffsnrnx1.add(gdstk.Label('VDD', (0.36,7.61), layer=68, texttype=16))
dffsnrnx1.add(gdstk.Label('VSS', (0.36,0.15), layer=68, texttype=16))

lib.write_gds('DFFSNRNX1.gds')
